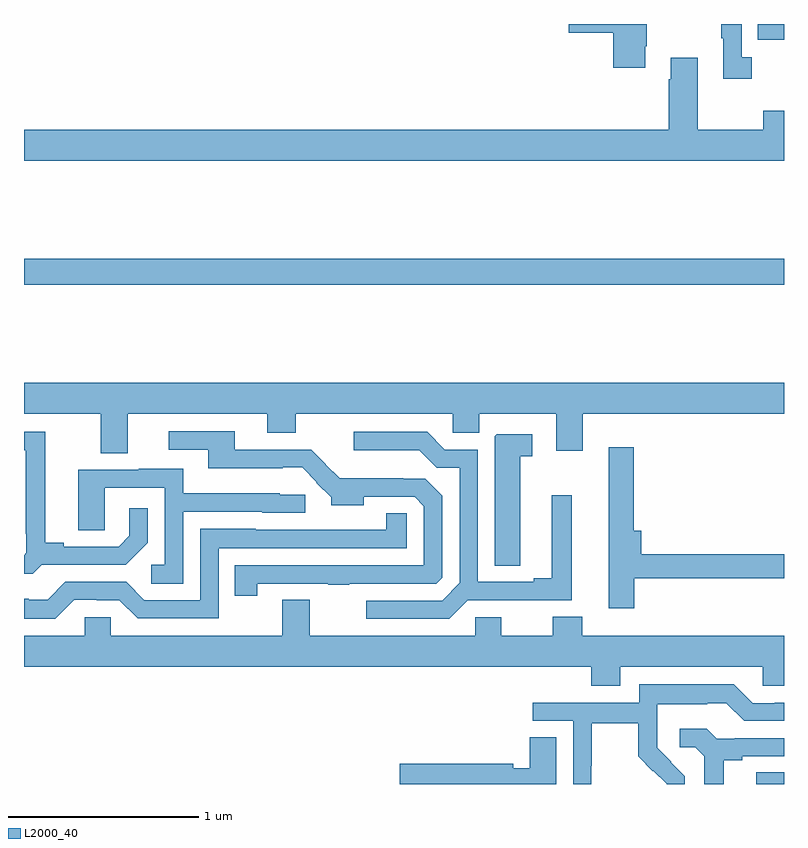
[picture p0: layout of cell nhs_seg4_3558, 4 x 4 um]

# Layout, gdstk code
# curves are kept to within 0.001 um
import gdstk
lib = gdstk.Library(unit=1e-6, precision=1e-09)
def R(c, l, rs):  # rectangles x0, y0, x1, y1
    for r in rs: c.add(gdstk.rectangle(r[:2], r[2:], *l))
def P(c, l, *ps):  # polygons
    for p in ps: c.add(gdstk.Polygon(p, *l))
L2000_40 = (2000, 40)

nhs_seg4_3558 = lib.new_cell('nhs_seg4_3558')
R(nhs_seg4_3558, L2000_40, [(302.855,766.9,303,766.961), (299,769.528,303,769.664), (302.863,770.818,303,770.9)])
P(nhs_seg4_3558, L2000_40, [(302.83,770.726),(302.778,770.726),(302.778,770.9),(302.67,770.9),(302.67,770.825),(302.681,770.825),(302.681,770.613),(302.83,770.613)],
  [(302.269,770.782),(302.277,770.782),(302.277,770.9),(301.866,770.9),(301.866,770.855),(302.102,770.855),(302.102,770.67),(302.269,770.67)],
  [(303,770.443),(302.89,770.443),(302.89,770.344),(302.545,770.344),(302.545,770.722),(302.405,770.722),(302.405,770.609),(302.393,770.609),(302.393,770.344),(299,770.344),(299,770.18),(303,770.18)],
  [(299.545,768.848),(300.281,768.848),(300.281,768.749),(300.429,768.749),(300.429,768.848),(301.257,768.848),(301.257,768.75),(301.396,768.75),(301.396,768.848),(301.802,768.848),(301.802,768.654),(301.942,768.654),(301.942,768.848),(303,768.848),(303,769.012),(299,769.012),(299,768.848),(299.405,768.848),(299.405,768.64),(299.545,768.64)],
  [(300.228,767.955),(300.601,767.955),(300.601,767.95),(300.713,767.95),(300.713,767.955),(301.17,767.955),(301.2,767.985),(301.2,768.417),(301.111,768.506),(300.995,768.506),(300.995,768.508),(300.661,768.508),(300.587,768.581),(300.589,768.583),(300.513,768.66),(300.109,768.66),(300.109,768.756),(299.763,768.756),(299.763,768.66),(299.969,768.66),(299.969,768.563),(300.362,768.563),(300.362,768.566),(300.464,768.566),(300.54,768.489),(300.537,768.486),(300.616,768.408),(300.616,768.368),(300.787,768.368),(300.787,768.411),(301.056,768.411),(301.104,768.363),(301.104,768.051),(300.109,768.051),(300.109,767.892),(300.228,767.892)],
  [(299.094,768.054),(299.536,768.054),(299.652,768.17),(299.652,768.352),(299.555,768.352),(299.555,768.207),(299.498,768.15),(299.209,768.15),(299.209,768.17),(299.113,768.17),(299.113,768.753),(299,768.753),(299,768.657),(299.009,768.657),(299.009,768.217),(299.013,768.217),(299.013,768.117),(299,768.104),(299,768.007),(299.046,768.007)],
  [(301.336,767.868),(301.882,767.868),(301.882,768.421),(301.778,768.421),(301.778,767.984),(301.682,767.984),(301.682,767.964),(301.389,767.964),(301.389,768.66),(301.215,768.66),(301.122,768.753),(300.735,768.753),(300.735,768.656),(301.081,768.656),(301.172,768.565),(301.293,768.565),(301.293,767.958),(301.2,767.865),(300.801,767.865),(300.801,767.769),(301.237,767.769)],
  [(301.612,768.625),(301.675,768.625),(301.675,768.741),(301.488,768.741),(301.478,768.731),(301.478,768.049),(301.612,768.049)],
  [(302.213,767.982),(303,767.982),(303,768.11),(302.249,768.11),(302.249,768.232),(302.21,768.232),(302.21,768.673),(302.078,768.673),(302.078,767.826),(302.213,767.826)],
  [(299.838,768.333),(300.255,768.333),(300.255,768.327),(300.48,768.327),(300.48,768.423),(300.345,768.423),(300.345,768.43),(299.839,768.43),(299.839,768.559),(299.603,768.559),(299.603,768.555),(299.285,768.555),(299.285,768.235),(299.424,768.235),(299.424,768.459),(299.742,768.459),(299.742,768.054),(299.67,768.054),(299.67,767.953),(299.838,767.953)],
  [(299.265,767.871),(299.382,767.871),(299.382,767.868),(299.502,767.868),(299.598,767.772),(300.024,767.772),(300.024,768.141),(301.014,768.141),(301.014,768.326),(300.906,768.326),(300.906,768.238),(300.219,768.237),(300.219,768.244),(299.928,768.244),(299.928,767.868),(299.634,767.868),(299.538,767.964),(299.217,767.964),(299.124,767.871),(299.024,767.871),(299.024,767.875),(299,767.875),(299,767.771),(299.165,767.771)],
  [(302.137,767.516),(302.889,767.516),(302.889,767.418),(303,767.418),(303,767.68),(301.937,767.68),(301.937,767.779),(301.784,767.779),(301.784,767.68),(301.513,767.68),(301.513,767.778),(301.374,767.778),(301.374,767.68),(300.505,767.68),(300.505,767.87),(300.358,767.87),(300.358,767.68),(299.457,767.68),(299.457,767.778),(299.319,767.778),(299.319,767.68),(299,767.68),(299,767.516),(301.985,767.516),(301.985,767.417),(302.137,767.417)],
  [(301.986,766.996),(301.989,766.996),(301.989,767.22),(302.233,767.22),(302.233,767.045),(302.31,766.968),(302.313,766.971),(302.384,766.9),(302.478,766.9),(302.478,766.942),(302.332,767.09),(302.332,767.187),(302.334,767.187),(302.334,767.321),(302.597,767.321),(302.597,767.325),(302.697,767.325),(302.79,767.232),(303,767.232),(303,767.328),(302.951,767.328),(302.951,767.325),(302.835,767.325),(302.735,767.425),(302.238,767.425),(302.238,767.328),(301.677,767.328),(301.677,767.232),(301.89,767.232),(301.89,766.9),(301.986,766.9)],
  [(302.683,767.024),(302.779,767.024),(302.779,767.046),(303,767.046),(303,767.142),(302.74,767.142),(302.74,767.139),(302.646,767.139),(302.594,767.191),(302.451,767.191),(302.451,767.094),(302.532,767.094),(302.579,767.047),(302.579,766.9),(302.683,766.9)],
  [(301.801,767.147),(301.663,767.147),(301.663,766.983),(301.574,766.983),(301.574,767.006),(300.978,767.006),(300.978,766.9),(301.801,766.9)])

lib.write_gds('nhs_seg4_3558.gds')
